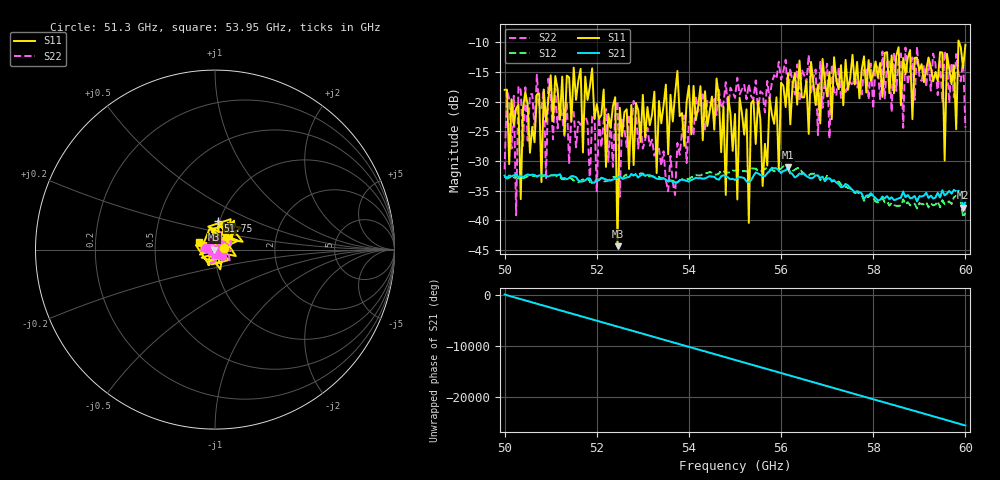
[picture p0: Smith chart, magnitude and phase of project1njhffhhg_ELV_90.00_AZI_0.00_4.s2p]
! 11/24/2026 10:05:18 AM
! C:\ANRITSUVNA\TEMP\TEMP.S2P
! CHANNEL.1
! TR.MEASUREMENT
! RAW.DATA
# HZ S RI R 50.0
! FREQ.HZ  S11RE  S11IM  S21RE  S21IM  S12RE  S12IM  S22RE  S22IM
!; PortSelection: Port_12
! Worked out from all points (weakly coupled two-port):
!   201 points, 50 GHz to 60 GHz, reference 50 ohm
!   highest |S21| = -31.07 dB at 56.15 GHz (marker M1); lowest = -37.9 dB at 59.95 GHz (marker M2)
!   lowest |S11| = -44.4 dB at 52.45 GHz (marker M3), VSWR 1.01, Z = 49.4 - j0.0127 ohm
!   |S11| at or under -10 dB: start of sweep to 59.85 GHz; 59.8634 GHz to end of sweep
!   |S22| runs from -39.1 to -10.7 dB; largest |S21 - S12| = 0.043
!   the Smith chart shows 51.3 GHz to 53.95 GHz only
!   S11 on the Smith chart (normalised r, x): 51.3 GHz: 1.11, +0.01; 51.75 GHz: 0.98, +0.33; 53.95 GHz: 0.83, +0.07
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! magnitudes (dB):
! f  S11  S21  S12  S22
! 50 GHz  -18.0  -32.5  -32.6  -31.4
! 50.2 GHz  -24.0  -32.4  -32.8  -19.0
! 50.25 GHz  -21.2  -32.3  -32.7  -39.1
! 50.35 GHz  -36.4  -32.5  -32.6  -18.0
! 50.45 GHz  -18.3  -32.4  -32.8  -17.6
! 51.3 GHz  -25.5  -32.9  -33.1  -25.8
! 51.7 GHz  -28.6  -33.4  -33.1  -22.2
! 51.75 GHz  -15.8  -33.2  -33.0  -22.3
! 52.4 GHz  -19.3  -33.0  -32.7  -22.5
! 52.45 GHz  -44.4  -32.8  -33.0  -19.9
! 52.5 GHz  -21.0  -32.6  -33.1  -36.0
! 53.35 GHz  -19.9  -33.0  -32.7  -27.9
! 53.95 GHz  -20.1  -33.3  -33.0  -30.3
! 55 GHz  -22.1  -33.2  -31.6  -19.4
! 55.25 GHz  -21.3  -33.5  -31.8  -19.6
! 55.3 GHz  -40.4  -33.5  -31.5  -17.0
! 55.35 GHz  -20.3  -33.2  -31.2  -19.1
! 56.15 GHz  -15.2  -31.1  -31.4  -19.3
! 56.7 GHz  -16.8  -32.8  -32.2  -16.1
! 58.35 GHz  -18.6  -36.4  -37.5  -12.9
! 59.95 GHz  -14.3  -37.9  -39.5  -12.7
! 60 GHz  -10.4  -36.9  -38.7  -24.4
